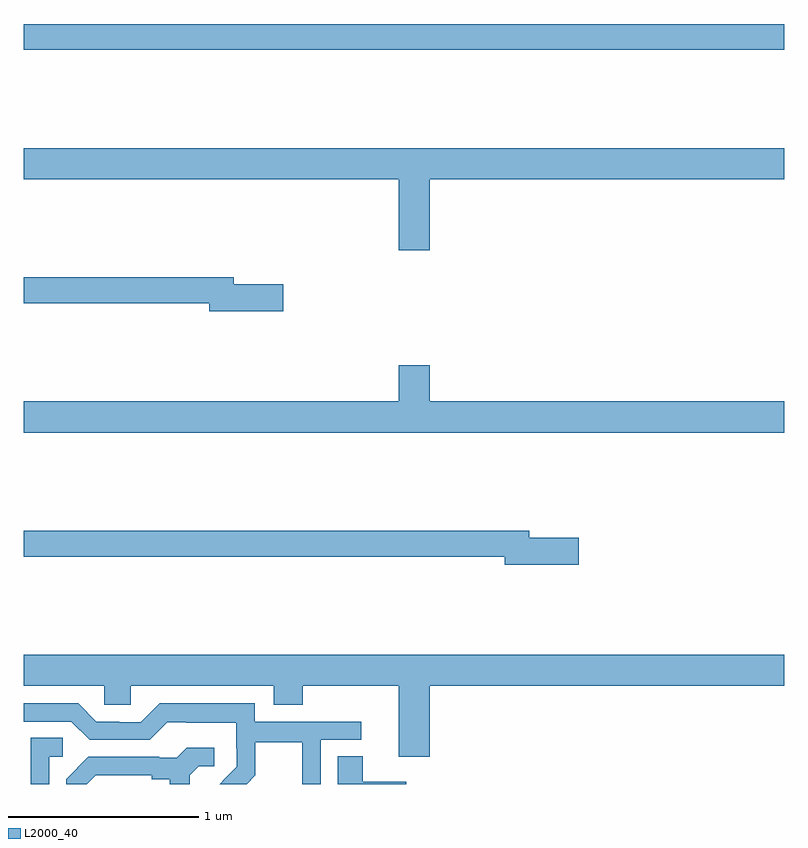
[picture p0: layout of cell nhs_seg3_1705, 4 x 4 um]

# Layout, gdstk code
import gdstk
lib = gdstk.Library(unit=1e-6, precision=1e-09)
def R(c, l, rs):  # rectangles x0, y0, x1, y1
    for r in rs: c.add(gdstk.rectangle(r[:2], r[2:], *l))
def P(c, l, *ps):  # polygons
    for p in ps: c.add(gdstk.Polygon(p, *l))
L2000_40 = (2000, 40)

nhs_seg3_1705 = lib.new_cell('nhs_seg3_1705')
R(nhs_seg3_1705, L2000_40, [(199,704.26,203,704.396)])
P(nhs_seg3_1705, L2000_40, [(201.136,703.58),(203,703.58),(203,703.744),(199,703.744),(199,703.58),(200.972,703.58),(200.972,703.206),(201.136,703.206)],
  [(200.365,703.028),(200.104,703.028),(200.104,703.064),(199,703.064),(199,702.928),(199.976,702.928),(199.976,702.886),(200.365,702.886)],
  [(203,702.412),(201.136,702.412),(201.136,702.601),(200.972,702.601),(200.972,702.412),(199,702.412),(199,702.248),(203,702.248)],
  [(201.919,701.696),(201.658,701.696),(201.658,701.732),(199,701.732),(199,701.596),(201.53,701.596),(201.53,701.554),(201.919,701.554)],
  [(201.136,700.916),(203,700.916),(203,701.08),(199,701.08),(199,700.916),(199.425,700.916),(199.425,700.818),(199.563,700.818),(199.563,700.916),(200.315,700.916),(200.315,700.817),(200.468,700.817),(200.468,700.916),(200.972,700.916),(200.972,700.542),(201.136,700.542)],
  [(200.219,700.445),(200.219,700.62),(200.464,700.62),(200.464,700.4),(200.562,700.4),(200.562,700.632),(200.776,700.632),(200.776,700.728),(200.214,700.728),(200.214,700.825),(199.717,700.825),(199.617,700.725),(199.502,700.725),(199.502,700.728),(199.383,700.728),(199.287,700.824),(199,700.824),(199,700.728),(199.251,700.728),(199.347,700.632),(199.662,700.632),(199.755,700.725),(199.855,700.725),(199.855,700.721),(200.118,700.721),(200.118,700.587),(200.12,700.587),(200.12,700.49),(200.046,700.416),(200.047,700.415),(200.032,700.4),(200.174,700.4)],
  [(199.134,700.542),(199.207,700.542),(199.207,700.643),(199.038,700.643),(199.038,700.4),(199.134,700.4)],
  [(199.378,700.446),(199.673,700.446),(199.673,700.424),(199.769,700.424),(199.769,700.4),(199.873,700.4),(199.873,700.447),(199.92,700.494),(200.002,700.494),(200.002,700.591),(199.858,700.591),(199.806,700.539),(199.712,700.539),(199.712,700.542),(199.34,700.542),(199.224,700.426),(199.224,700.4),(199.332,700.4)],
  [(201.013,700.411),(200.782,700.411),(200.782,700.547),(200.651,700.547),(200.651,700.4),(201.013,700.4)])

lib.write_gds('nhs_seg3_1705.gds')
